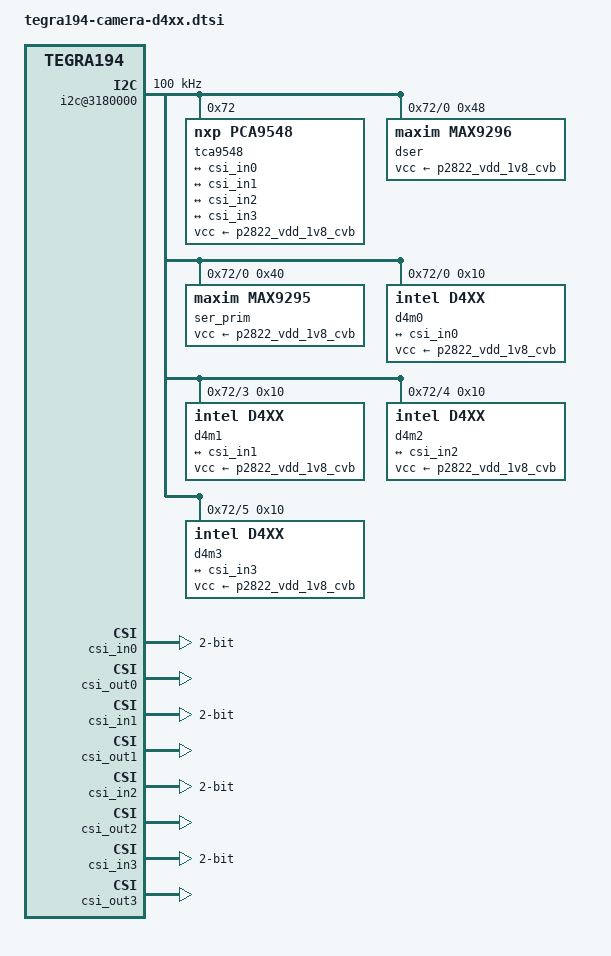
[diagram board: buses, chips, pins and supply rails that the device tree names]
#include "dt-bindings/clock/tegra194-clock.h"

#define CAM0_RST_L	TEGRA194_MAIN_GPIO(H, 3)
#define CAMERA_I2C_MUX_BUS(x) (0x1E + x)


/ {
	tegra-capture-vi {
		num-channels = <6>;
		nvidia,gmsl-ser-device = <&ser_prim>;
		nvidia,gmsl-dser-device = <&dser>;

		ports {
			#address-cells = <0x1>;
			#size-cells = <0x0>;

			port@0 {
				reg = <0>;
				status = "ok";

				vi_in0: endpoint {
					status = "ok";
					port-index = <0>;
					bus-width = <2>;
					vc-id = <0>;
					remote-endpoint = <&csi_out0>;
				};
			};
			port@1 {
				reg = <1>;
				status = "ok";

				vi_in1: endpoint {
					status = "ok";
					vc-id = <1>;
					port-index = <0>;
					bus-width = <2>;
					remote-endpoint = <&csi_out1>;
				};
			};
			port@2 {
				reg = <2>;
				status = "ok";

				vi_in2: endpoint {
					status = "ok";
					port-index = <0>;
					bus-width = <2>;
					vc-id = <2>;
					remote-endpoint = <&csi_out2>;
				};
			};
			port@3 {
				reg = <3>;
				status = "ok";

				vi_in3: endpoint {
					status = "ok";
					port-index = <0>;
					bus-width = <2>;
					vc-id = <3>;
					remote-endpoint = <&csi_out3>;
				};
			};
			port@4 {
				reg = <4>;
				status = "disabled";

				vi_in4: endpoint {
					status = "disabled";
					port-index = <0>;
					bus-width = <2>;
					remote-endpoint = <&csi_out4>;
				};
			};
			port@5 {
				reg = <5>;
				status = "disabled";

				vi_in5: endpoint {
					status = "disabled";
					port-index = <0>;
					bus-width = <2>;
					remote-endpoint = <&csi_out5>;
				};

			};
		};
		sources {
			source@0 {
				remote-source = <&src_depth0>;
			};
			source@1 {
				remote-source = <&src_y80>;
			};
			source@2 {
				remote-source = <&src_imu>;
			};
			//source@2 {
			//	remote-source = <&src_depth1>;
			//};
			//source@3 {
			//	remote-source = <&src_y1>;
			//};
			//source@4 {
			//	remote-source = <&src_depth2>;
			//};
			//source@5 {
			//	remote-source = <&src_y2>;
			//};
		};
	};

	i2c@3180000 {
		status = "ok";
		clock-frequency = <100000>;
		tca9548@72 {
			status = "ok";
			reg = <0x72>;
			compatible = "nxp,pca9548";
			#address-cells = <1>;
			#size-cells = <0>;
			skip_mux_detect = "yes";
			vcc-supply = <&p2822_vdd_1v8_cvb>;
			/*vcc-pullup-supply = <&battery_reg>;*/
			force_bus_start = <CAMERA_I2C_MUX_BUS(0)>;
			vcc_lp = "vcc";
			i2c@0 {
				reg = <0x0>;	// line 4 of the I2C switch
				#address-cells = <0x1>;
				i2c-mux,deselect-on-exit;
				#size-cells = <0x0>;

				dser: max9296@48 {
					status = "ok";
					reg = <0x48>;
					compatible = "maxim,max9296";
					#address-cells = <1>;
					#size-cells = <0>;
					skip_mux_detect = "yes";
					vcc-supply = <&p2822_vdd_1v8_cvb>;
					/*vcc-pullup-supply = <&battery_reg>;*/
					force_bus_start = <CAMERA_I2C_MUX_BUS(0)>;
					vcc_lp = "vcc";
					csi-mode = "2x4";
					max-src = <1>;
				};

				ser_prim: max9295_prim@40 {
					status = "ok";
					reg = <0x40>;
					compatible = "maxim,max9295";
					#address-cells = <1>;
					#size-cells = <0>;
					skip_mux_detect = "yes";
					vcc-supply = <&p2822_vdd_1v8_cvb>;
					/*vcc-pullup-supply = <&battery_reg>;*/
					force_bus_start = <CAMERA_I2C_MUX_BUS(0)>;
					vcc_lp = "vcc";
					is-prim-ser;
				};


				d4m0: d4m@10 {
					status = "ok";
					reg = <0x10>;
					compatible = "intel,d4xx";
					vcc-supply = <&p2822_vdd_1v8_cvb>;
					/*reset-gpios = <&tegra_main_gpio CAM0_RST_L GPIO_ACTIVE_HIG>;*/
					cam-type = "Depth";
					ports {
						#address-cells = <1>;
						#size-cells = <0>;

						port@0 {
							reg = <0>;
							d4m0_out: endpoint {
								port-index = <1>;
								bus-width = <2>;
								remote-endpoint = <&csi_in0>;
								src_depth0: source@0 {
									data-types = <0x31>;
									vc-id = <0>;
								};
							};
						};
					};
					/* mode0: Y8, mode1: depth D16 */
					mode0 {
						pixel_t = "grey_y16";
						num_lanes = "2";
						csi_pixel_bit_depth = "16";
						active_w = "1280";
						active_h = "720";
						tegra_sinterface = "serial_a";
						mclk_khz = "24000";
						/*pix_clk_hz = "148500000";*/ /* for 2 streams? */
						/*pix_clk_hz = "37125000";*/
						/*pix_clk_hz = "375000000";*/
						pix_clk_hz = "74250000";
						discontinuous_clk = "no";
						dpcm_enable = "false";
						cil_settletime = "0";
						line_length = "1280"; /* 2200 */
						mclk_multiplier = "15.625";
						embedded_metadata_height = "1";
						min_framerate = "5";
						max_framerate = "30";
						default_framerate = "5";
						vc_id = "0";
					};
				};
			};
			i2c@1 { //RGB0
				status = "ok";
				reg = <0x3>; 	// line 18-19 of the I2C switch
				#address-cells = <0x1>;
				i2c-mux,deselect-on-exit;
				#size-cells = <0x0>;

				d4m1: d4m@10 {
					status = "ok";
					reg = <0x10>;
					compatible = "intel,d4xx";
					vcc-supply = <&p2822_vdd_1v8_cvb>;
					/*reset-gpios = <&tegra_main_gpio CAM0_RST_L GPIO_ACTIVE_HIG>;*/
					cam-type = "RGB";
					ports {
						#address-cells = <1>;
						#size-cells = <0>;

						port@0 {
							reg = <0>;
							d4m1_out: endpoint {
								port-index = <1>;
								bus-width = <2>;
								vc-id = <1>;
								remote-endpoint = <&csi_in1>;
							};
						};
					};
					/*mode0: RGB D16 */
					mode0 {
						pixel_t = "grey_y8";
						num_lanes = "2";
						csi_pixel_bit_depth = "8";
						active_w = "1920";
						active_h = "1080";
						tegra_sinterface = "serial_e";
						mclk_khz = "24000";
						/*pix_clk_hz = "148500000";*/ /* for 2 streams? */
						pix_clk_hz = "74250000";
						/*pix_clk_hz = "375000000";*/
						discontinuous_clk = "no";
						dpcm_enable = "false";
						cil_settletime = "0";
						line_length = "1280"; /* 2200 */
						mclk_multiplier = "15.625";
						embedded_metadata_height = "1";
						min_framerate = "5";
						max_framerate = "30";
						default_framerate = "5";
						vc_id = "1";
					};
				};
			};
			i2c@2 {
				reg = <0x4>;	// line 4 of the I2C switch
				#address-cells = <0x1>;
				i2c-mux,deselect-on-exit;
				#size-cells = <0x0>;

				d4m2: d4m@10 {
					status = "ok";
					reg = <0x10>;
					compatible = "intel,d4xx";
					vcc-supply = <&p2822_vdd_1v8_cvb>;
					/*reset-gpios = <&tegra_main_gpio CAM0_RST_L GPIO_ACTIVE_HIG>;*/
					cam-type = "Y8";
					ports {
						#address-cells = <1>;
						#size-cells = <0>;

						port@0 {
							reg = <0>;
							d4m2_out: endpoint {
								port-index = <1>;
								bus-width = <2>;
								remote-endpoint = <&csi_in2>;
								src_y80: source@0 {
									data-types = <0x2a>;
									vc-id = <2>;
								};
							};
						};
					};
					/* mode0: Y8, mode1: depth D16 */
					mode0 {
						pixel_t = "grey_y8";
						num_lanes = "2";
						csi_pixel_bit_depth = "8";
						active_w = "1280";
						active_h = "720";
						tegra_sinterface = "serial_b";
						mclk_khz = "24000";
						/*pix_clk_hz = "148500000";*/ /* for 2 streams? */
						/*pix_clk_hz = "37125000";*/
						/*pix_clk_hz = "375000000";*/
						pix_clk_hz = "74250000";
						discontinuous_clk = "no";
						dpcm_enable = "false";
						cil_settletime = "0";
						line_length = "1280"; /* 2200 */
						mclk_multiplier = "15.625";
						embedded_metadata_height = "0";
						min_framerate = "5";
						max_framerate = "30";
						default_framerate = "30";
						vc_id = "2";
					};
				};
			};
			i2c@3 {
				reg = <0x5>;	// line 4 of the I2C switch
				#address-cells = <0x1>;
				i2c-mux,deselect-on-exit;
				#size-cells = <0x0>;

				d4m3: d4m@10 {
					status = "ok";
					reg = <0x10>;
					compatible = "intel,d4xx";
					vcc-supply = <&p2822_vdd_1v8_cvb>;
					/*reset-gpios = <&tegra_main_gpio CAM0_RST_L GPIO_ACTIVE_HIG>;*/
					cam-type = "IMU";
					ports {
						#address-cells = <1>;
						#size-cells = <0>;

						port@0 {
							reg = <0>;
							d4m3_out: endpoint {
								port-index = <1>;
								bus-width = <2>;
								remote-endpoint = <&csi_in3>;
								src_imu: source@0 {
									data-types = <0x2a>;
									vc-id = <3>;
								};
							};
						};
					};
					mode0 {
						pixel_t = "grey_y8";
						num_lanes = "2";
						csi_pixel_bit_depth = "8";
						active_w = "640";
						active_h = "480";
						tegra_sinterface = "serial_b";
						mclk_khz = "24000";
						/*pix_clk_hz = "148500000";*/ /* for 2 streams? */
						/*pix_clk_hz = "37125000";*/
						/*pix_clk_hz = "375000000";*/
						pix_clk_hz = "74250000";
						discontinuous_clk = "no";
						dpcm_enable = "false";
						cil_settletime = "0";
						line_length = "1280"; /* 2200 */
						mclk_multiplier = "15.625";
						embedded_metadata_height = "0";
						min_framerate = "5";
						max_framerate = "30";
						default_framerate = "30";
						vc_id = "3";
					};
				};
			};

		};
	};

	host1x@13e00000 {
		nvcsi@15a00000 {
			#address-cells = <0x1>;
			#size-cells = <0x0>;

			num-channels = <6>;

			channel@0 {
				reg = <0x0>;
				status = "ok";

				ports {
					#address-cells = <0x1>;
					#size-cells = <0x0>;

					port@0 {
						reg = <0>;
						status = "ok";

						csi_in0: endpoint@0 {
							status = "ok";
							port-index = <0>;
							bus-width = <2>;
							remote-endpoint = <&d4m0_out>;
						};
					};
					port@1 {
						reg = <1>;
						status = "ok";
						csi_out0: endpoint@1 {
							status = "ok";
							remote-endpoint = <&vi_in0>;
						};
					};

				};
			};
			channel@1 {
				reg = <0x1>;
				status = "ok";

				ports {
					#address-cells = <0x1>;
					#size-cells = <0x0>;

					port@0 {
						reg = <0>;
						status = "ok";

						csi_in1: endpoint@2 {
							status = "ok";
							port-index = <0>;
							bus-width = <2>;
							remote-endpoint = <&d4m1_out>;
						};
					};
					port@1 {
						reg = <1>;
						status = "ok";
						csi_out1: endpoint@3 {
							status = "ok";
							remote-endpoint = <&vi_in1>;
						};
					};

				};
			};
			channel@2 {
				reg = <0x2>;
				status = "ok";

				ports {
					#address-cells = <0x1>;
					#size-cells = <0x0>;

					port@0 {
						reg = <0>;
						status = "ok";

						csi_in2: endpoint@4 {
							status = "ok";
							port-index = <0>;
							bus-width = <2>;
							remote-endpoint = <&d4m2_out>;
						};
					};
					port@1 {
						reg = <1>;
						status = "ok";
						csi_out2: endpoint@5 {
							status = "ok";
							remote-endpoint = <&vi_in2>;
						};
					};
				};
			};
			channel@3 {
				reg = <0x3>;
				status = "ok";

				ports {
					#address-cells = <0x1>;
					#size-cells = <0x0>;

					port@0 {
						reg = <0>;
						status = "ok";

						csi_in3: endpoint@6 {
							status = "ok";
							port-index = <0>;
							bus-width = <2>;
							remote-endpoint = <&d4m3_out>;
						};
					};
					port@1 {
						reg = <1>;
						status = "ok";
						csi_out3: endpoint@7 {
							status = "ok";
							remote-endpoint = <&vi_in3>;
						};
					};
				};
			};
			channel@4 {
				reg = <0x4>;
				status = "disabled";

				ports {
					#address-cells = <0x1>;
					#size-cells = <0x0>;

					port@0 {
						reg = <0>;
						status = "ok";

						csi_in4: endpoint@8 {
							status = "ok";
							port-index = <4>;
							bus-width = <2>;
							//remote-endpoint = <&d4m2_out>;
						};
					};
					port@1 {
						reg = <1>;
						status = "ok";
						csi_out4: endpoint@9 {
							status = "ok";
							remote-endpoint = <&vi_in4>;
						};
					};
				};
			};
			channel@5 {
				reg = <0x5>;
				status = "disabled";

				ports {
					#address-cells = <0x1>;
					#size-cells = <0x0>;

					port@0 {
						reg = <0>;
						status = "ok";

						csi_in5: endpoint@10 {
							status = "ok";
							port-index = <5>;
							bus-width = <2>;
							remote-endpoint = <&d4m1_out/*&d4m2_out5*/>;
						};
					};
					port@1 {
						reg = <1>;
						status = "ok";
						csi_out5: endpoint@11 {
							status = "ok";
							remote-endpoint = <&vi_in5>;
						};
					};
				};
			};
		};
	};
};
